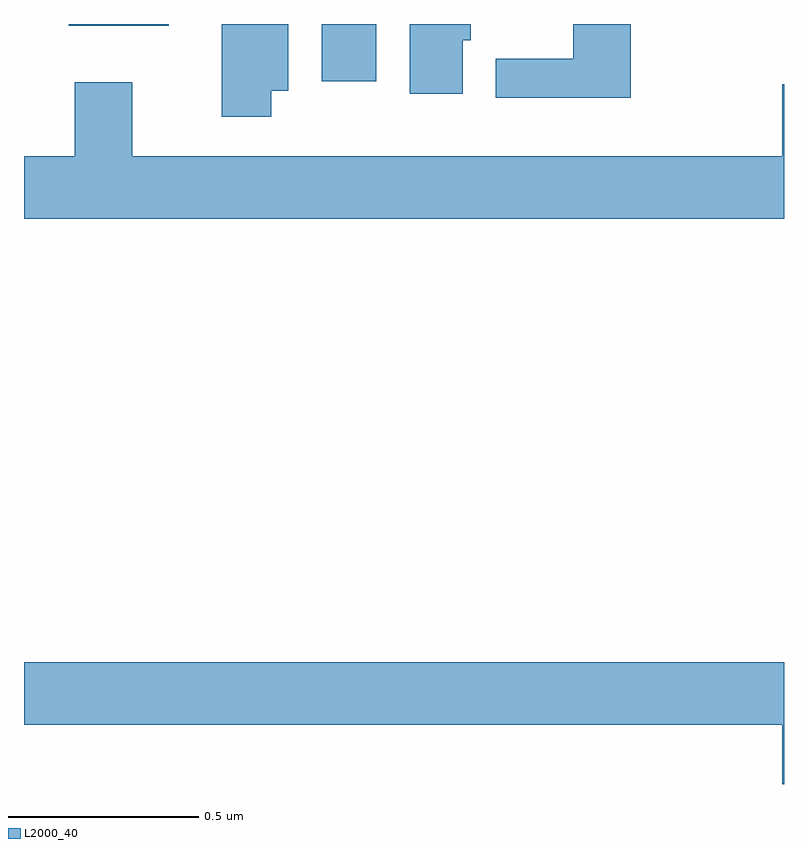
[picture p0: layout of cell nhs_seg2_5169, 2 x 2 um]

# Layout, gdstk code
import gdstk
lib = gdstk.Library(unit=1e-6, precision=1e-09)
def R(c, l, rs):  # rectangles x0, y0, x1, y1
    for r in rs: c.add(gdstk.rectangle(r[:2], r[2:], *l))
def P(c, l, *ps):  # polygons
    for p in ps: c.add(gdstk.Polygon(p, *l))
L2000_40 = (2000, 40)

nhs_seg2_5169 = lib.new_cell('nhs_seg2_5169')
R(nhs_seg2_5169, L2000_40, [(175.784,662.649,175.927,662.8), (175.118,662.795,175.381,662.8)])
P(nhs_seg2_5169, L2000_40, [(176.597,662.8),(176.446,662.8),(176.446,662.708),(176.241,662.708),(176.241,662.606),(176.597,662.606)],
  [(176.155,662.757),(176.176,662.757),(176.176,662.8),(176.015,662.8),(176.015,662.616),(176.155,662.616)],
  [(175.65,662.624),(175.696,662.624),(175.696,662.8),(175.52,662.8),(175.52,662.556),(175.65,662.556)],
  [(177,662.641),(176.996,662.641),(176.996,662.452),(175.285,662.452),(175.285,662.647),(175.133,662.647),(175.133,662.452),(175,662.452),(175,662.288),(177,662.288)],
  [(177,661.12),(175,661.12),(175,660.956),(176.996,660.956),(176.996,660.8),(177,660.8)])

lib.write_gds('nhs_seg2_5169.gds')
